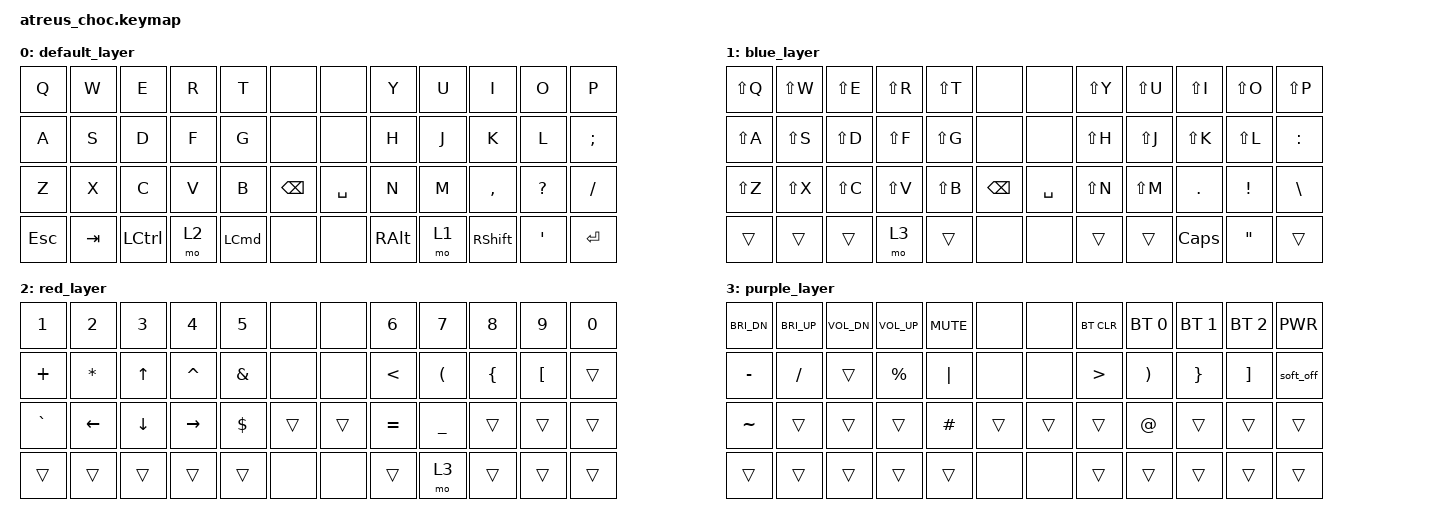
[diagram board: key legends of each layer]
/*
 * Copyright (c) 2020 The ZMK Contributors
 *
 * SPDX-License-Identifier: MIT
 */

#include <behaviors.dtsi>
#include <dt-bindings/zmk/keys.h>
#include <dt-bindings/zmk/bt.h>

/ {
    keymap {
        compatible = "zmk,keymap";

        default_layer {
            bindings = <
                &kp Q      &kp W      &kp E      &kp R      &kp T      &none              &none      &kp Y      &kp U      &kp I      &kp O       &kp P
                &kp A      &kp S      &kp D      &kp F      &kp G      &none              &none      &kp H      &kp J      &kp K      &kp L       &kp SEMI
                &kp Z      &kp X      &kp C      &kp V      &kp B      &kp BSPC           &kp SPACE  &kp N      &kp M      &kp COMMA  &kp QMARK   &kp FSLH
                &kp ESC    &kp TAB    &kp LCTRL  &mo 2      &kp LCMD   &none              &none      &kp RALT   &mo 1      &kp RSHFT  &kp SQT     &kp RET
            >;
        };

        blue_layer {
            bindings = <
                &kp LS(Q)  &kp LS(W)  &kp LS(E)  &kp LS(R)  &kp LS(T)  &none              &none      &kp LS(Y)  &kp LS(U)  &kp LS(I)  &kp LS(O)  &kp LS(P)
                &kp LS(A)  &kp LS(S)  &kp LS(D)  &kp LS(F)  &kp LS(G)  &none              &none      &kp LS(H)  &kp LS(J)  &kp LS(K)  &kp LS(L)  &kp COLON
                &kp LS(Z)  &kp LS(X)  &kp LS(C)  &kp LS(V)  &kp LS(B)  &kp BSPC           &kp SPACE  &kp LS(N)  &kp LS(M)  &kp DOT    &kp EXCL   &kp BSLH
                &trans     &trans     &trans     &mo 3      &trans     &none              &none      &trans     &trans     &kp CAPS   &kp DQT    &trans
            >;
        };

        red_layer {
            bindings = <
                &kp N1     &kp N2     &kp N3     &kp N4     &kp N5     &none              &none      &kp N6     &kp N7     &kp N8     &kp N9     &kp N0
                &kp PLUS   &kp STAR   &kp UP     &kp CARET  &kp AMPS   &none              &none      &kp LT     &kp LPAR   &kp LBRC   &kp LBKT   &trans
                &kp GRAVE  &kp LEFT   &kp DOWN   &kp RIGHT  &kp DLLR   &trans             &trans     &kp EQUAL  &kp UNDER  &trans     &trans     &trans
                &trans     &trans     &trans     &trans     &trans     &none              &none      &trans     &mo 3      &trans     &trans     &trans
            >;
        };

        purple_layer {
            bindings = <
                &kp C_BRI_DN &kp C_BRI_UP &kp C_VOL_DN &kp C_VOL_UP &kp C_MUTE &none      &none      &bt BT_CLR &bt BT_SEL 0 &bt BT_SEL 1 &bt BT_SEL 2 &kp C_PWR
                &kp MINUS    &kp FSLH     &trans       &kp PRCNT    &kp PIPE   &none      &none      &kp GT       &kp RPAR     &kp RBRC   &kp RBKT     &soft_off
                &kp TILDE    &trans       &trans       &trans       &kp HASH   &trans     &trans     &trans       &kp AT       &trans     &trans       &trans
                &trans       &trans       &trans       &trans       &trans     &none      &none      &trans       &trans       &trans     &trans       &trans
            >;
        };

    };
};
